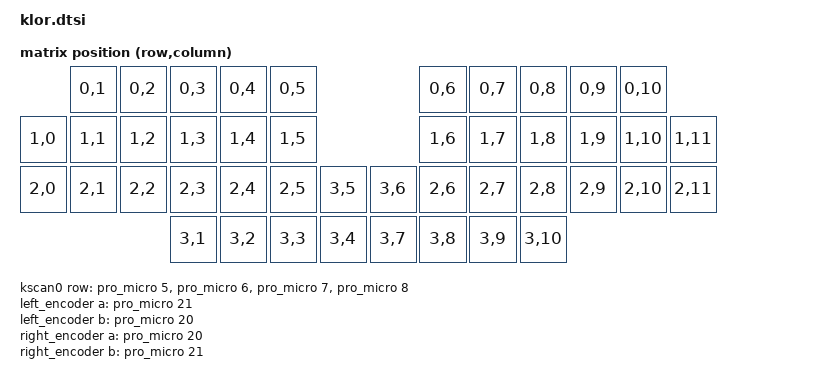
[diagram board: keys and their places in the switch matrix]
#include <dt-bindings/zmk/matrix_transform.h>
//#include "klor-layouts.dtsi"

/ {
    physical_layout0: physical_layout_0 { // First physical layout, use different naming for other layouts
        compatible = "zmk,physical-layout";
        display-name = "Default Layout";
        kscan = <&kscan0>; // Label of the kscan node, optional if all layouts use the same
        transform = <&default_transform>; // Label of the matrix transform for this layout
    };
};

/ {
    chosen {
        zmk,physical-layout = &physical_layout0;
        // Other chosen items
    };

	default_transform: keymap_transform0 {
		compatible = "zmk,matrix-transform";
		columns = <12>;
		rows = <4>;
		map = <
        RC(0,1) RC(0,2) RC(0,3) RC(0,4) RC(0,5)                 RC(0,6) RC(0,7) RC(0,8) RC(0,9) RC(0,10)
RC(1,0) RC(1,1) RC(1,2) RC(1,3) RC(1,4) RC(1,5)                 RC(1,6) RC(1,7) RC(1,8) RC(1,9) RC(1,10) RC(1,11)
RC(2,0) RC(2,1) RC(2,2) RC(2,3) RC(2,4) RC(2,5) RC(3,5) RC(3,6) RC(2,6) RC(2,7) RC(2,8) RC(2,9) RC(2,10) RC(2,11)
                        RC(3,1) RC(3,2) RC(3,3) RC(3,4) RC(3,7) RC(3,8) RC(3,9) RC(3,10)
		>;
	};

    kscan0: kscan0 {
        compatible = "zmk,kscan-gpio-matrix";
        diode-direction = "col2row";
        wakeup-source;

        row-gpios
            = <&pro_micro 5 (GPIO_ACTIVE_HIGH | GPIO_PULL_DOWN)>
            , <&pro_micro 6 (GPIO_ACTIVE_HIGH | GPIO_PULL_DOWN)>
            , <&pro_micro 7 (GPIO_ACTIVE_HIGH | GPIO_PULL_DOWN)>
            , <&pro_micro 8 (GPIO_ACTIVE_HIGH | GPIO_PULL_DOWN)>
            ;

    };

    left_encoder: encoder_left {
        compatible = "alps,ec11";
        a-gpios = <&pro_micro 21 (GPIO_ACTIVE_HIGH | GPIO_PULL_UP)>;
        b-gpios = <&pro_micro 20 (GPIO_ACTIVE_HIGH | GPIO_PULL_UP)>;
        steps = <80>;
        status = "disabled";
    };

    right_encoder: encoder_right {
        compatible = "alps,ec11";
        a-gpios = <&pro_micro 20 (GPIO_ACTIVE_HIGH | GPIO_PULL_UP)>;
        b-gpios = <&pro_micro 21 (GPIO_ACTIVE_HIGH | GPIO_PULL_UP)>;
        steps = <80>;
        status = "disabled";
    };
    
        sensors: sensors {
        compatible = "zmk,keymap-sensors";
        sensors = <&left_encoder &right_encoder>;
        triggers-per-rotation = <20>;
    };
};

/*
 * KLOR's QMK half-duplex data conductor is the Pro Micro RX pin (AVR PD2).
 * On the SparkFun Pro Micro RP2040 that physical pin is GP1.  Use PIO1 so
 * the board's on-board WS2812 PIO0 device cannot consume our state machines.
 */
&pinctrl {
    klor_split_pio_default: klor_split_pio_default {
        data_pins {
            pinmux = <PIO1_P1>;
            input-enable;
            bias-pull-up;
        };
    };
};

&pio1 {
    status = "okay";

    klor_split_uart: klor_split_uart {
        compatible = "zmk,pico-uart-pio-half-duplex";
        status = "okay";
        pinctrl-0 = <&klor_split_pio_default>;
        pinctrl-names = "default";
        current-speed = <115200>;
    };
};

/ {
    wired_split {
        compatible = "zmk,wired-split";
        device = <&klor_split_uart>;
        half-duplex;
    };
};
